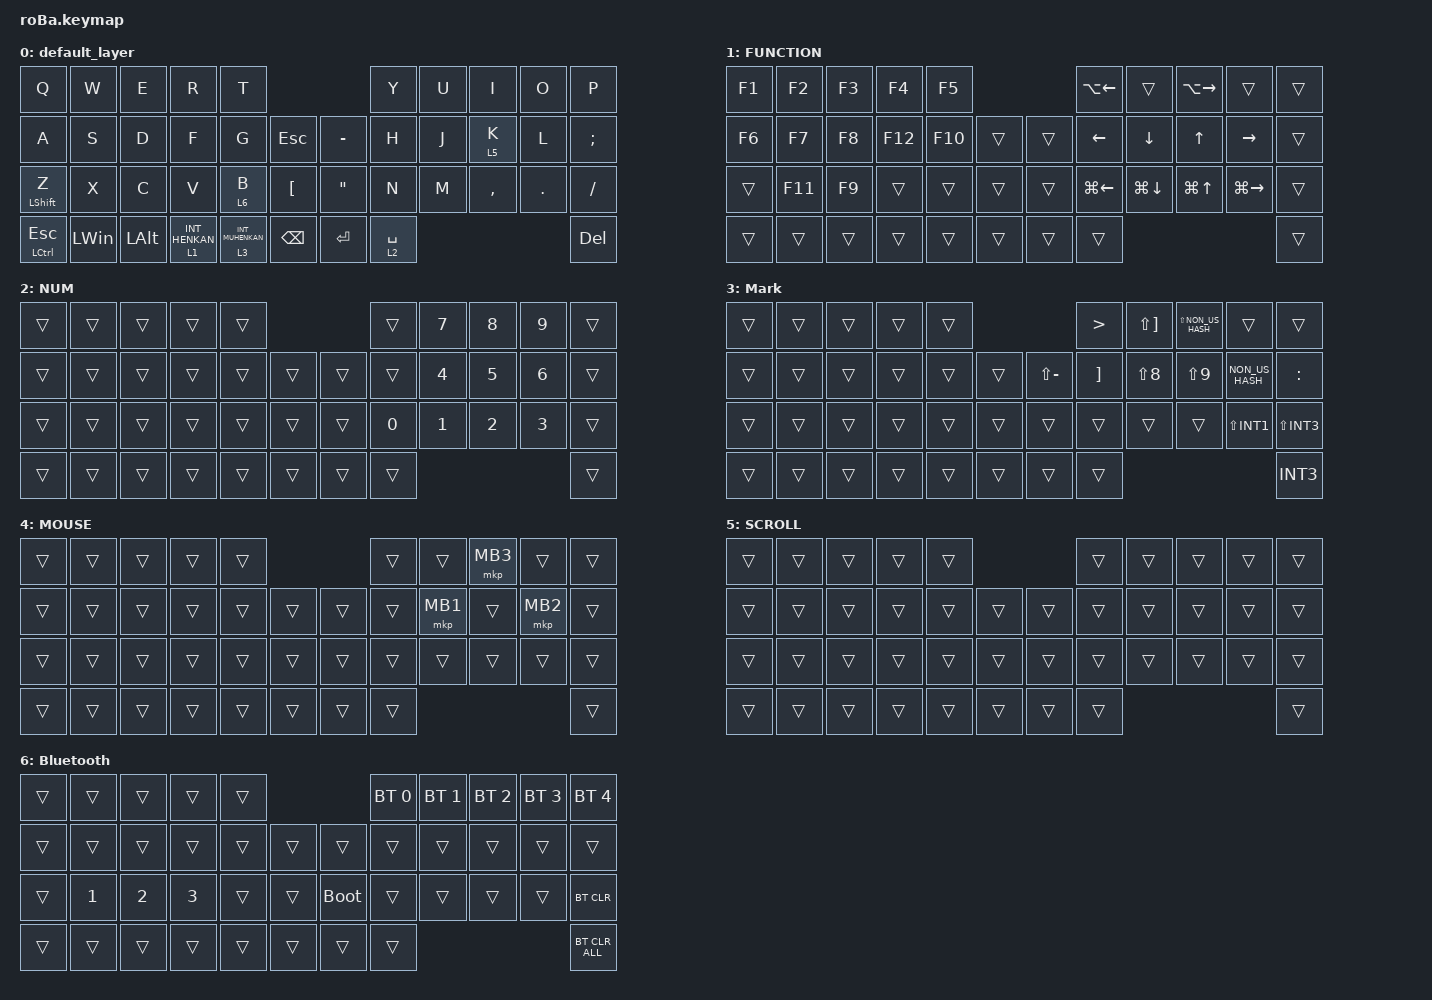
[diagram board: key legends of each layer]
#include <input/processors.dtsi>
#include <behaviors.dtsi>
#include <dt-bindings/zmk/bt.h>
#include <dt-bindings/zmk/keys.h>
#include <dt-bindings/zmk/pointing.h>

&mkp_input_listener { input-processors = <&zip_temp_layer 4 250>; };

&mt {
    flavor = "balanced";
    quick-tap-ms = <0>;
};

&trackball {
    automouse-layer = <4>;
    scroll-layers = <5>;

    // arrows {
    //     layers = <3>;
    //     bindings =
    //         <&kp RIGHT_ARROW>,
    //         <&kp LEFT_ARROW>,
    //         <&kp UP_ARROW>,
    //         <&kp DOWN_ARROW>;
    //     tick = <10>;
    //     wait-ms = <5>;
    //     tap-ms = <5>;
    // };
};

/ {
    combos {
        compatible = "zmk,combos";

        tab {
            bindings = <&kp TAB>;
            key-positions = <11 12>;
        };

        shift_tab {
            bindings = <&kp LS(TAB)>;
            key-positions = <12 13>;
        };

        muhennkann {
            bindings = <&to_layer_0 INT_MUHENKAN>;
            key-positions = <11 10>;
        };

        double_quotation {
            bindings = <&kp DOUBLE_QUOTES>;
            key-positions = <20 21>;
        };

        eq {
            bindings = <&kp EQUAL>;
            key-positions = <24 25>;
        };

        space_combo {
            bindings = <&kp SPACE>;
            key-positions = <18 19>;
        };
    };

    macros {
        to_layer_0: to_layer_0 {
            compatible = "zmk,behavior-macro-one-param";
            #binding-cells = <1>;
            bindings = <&to 0 &macro_param_1to1 &kp MACRO_PLACEHOLDER>;
            label = "TO_LAYER_0";
        };
    };

    behaviors {
        lt_to_layer_0: lt_to_layer_0 {
            compatible = "zmk,behavior-hold-tap";
            label = "LAYER_TAP_TO_0";
            bindings = <&mo>, <&to_layer_0>;

            #binding-cells = <2>;
            tapping-term-ms = <200>;
        };
    };

    keymap {
        compatible = "zmk,keymap";

        default_layer {
            bindings = <
&kp Q                 &kp W         &kp E         &kp R                        &kp T                                                                   &kp Y        &kp U  &kp I      &kp O    &kp P
&kp A                 &kp S         &kp D         &kp F                        &kp G                          &kp ESCAPE            &kp MINUS          &kp H        &kp J  &lt 5 K    &kp L    &kp SEMICOLON
&mt LEFT_SHIFT Z      &kp X         &kp C         &kp V                        &lt 6 B                        &kp LEFT_BRACKET      &kp DOUBLE_QUOTES  &kp N        &kp M  &kp COMMA  &kp DOT  &kp SLASH
&mt LEFT_CONTROL ESC  &kp LEFT_WIN  &kp LEFT_ALT  &lt_to_layer_0 1 INT_HENKAN  &lt_to_layer_0 3 INT_MUHENKAN  &kp BACKSPACE         &kp ENTER          &lt 2 SPACE                             &kp DEL
            >;
        };

        FUNCTION {
            bindings = <
&kp F1  &kp F2   &kp F3  &kp F4   &kp F5                       &kp LA(LEFT)  &trans              &kp LA(RIGHT)  &trans         &trans
&kp F6  &kp F7   &kp F8  &kp F12  &kp F10  &trans      &trans  &kp LEFT      &kp DOWN            &kp UP         &kp RIGHT      &trans
&trans  &kp F11  &kp F9  &trans   &trans   &trans      &trans  &kp LG(LEFT)  &kp LG(DOWN_ARROW)  &kp LG(UP)     &kp LG(RIGHT)  &trans
&trans  &trans   &trans  &trans   &trans   &trans      &trans  &trans                                                          &trans
            >;
        };

        NUM {
            bindings = <
&trans  &trans  &trans  &trans  &trans                      &trans  &kp N7  &kp N8  &kp N9  &trans
&trans  &trans  &trans  &trans  &trans  &trans      &trans  &trans  &kp N4  &kp N5  &kp N6  &trans
&trans  &trans  &trans  &trans  &trans  &trans      &trans  &kp N0  &kp N1  &kp N2  &kp N3  &trans
&trans  &trans  &trans  &trans  &trans  &trans      &trans  &trans                          &trans
            >;
        };

        Mark {
            bindings = <
&trans  &trans  &trans  &trans  &trans                             &kp GT             &kp LS(RIGHT_BRACKET)  &kp LS(NON_US_HASH)  &trans           &trans
&trans  &trans  &trans  &trans  &trans  &trans      &kp LS(MINUS)  &kp RIGHT_BRACKET  &kp LS(N8)             &kp LS(N9)           &kp NON_US_HASH  &kp COLON
&trans  &trans  &trans  &trans  &trans  &trans      &trans         &trans             &trans                 &trans               &kp LS(INT1)     &kp LS(INT3)
&trans  &trans  &trans  &trans  &trans  &trans      &trans         &trans                                                                          &kp INT3
            >;
        };

        MOUSE {
            bindings = <
&trans  &trans  &trans  &trans  &trans                      &trans  &trans    &mkp MB3  &trans    &trans
&trans  &trans  &trans  &trans  &trans  &trans      &trans  &trans  &mkp MB1  &trans    &mkp MB2  &trans
&trans  &trans  &trans  &trans  &trans  &trans      &trans  &trans  &trans    &trans    &trans    &trans
&trans  &trans  &trans  &trans  &trans  &trans      &trans  &trans                                &trans
            >;
        };

        SCROLL {
            bindings = <
&trans  &trans  &trans  &trans  &trans                      &trans  &trans  &trans  &trans  &trans
&trans  &trans  &trans  &trans  &trans  &trans      &trans  &trans  &trans  &trans  &trans  &trans
&trans  &trans  &trans  &trans  &trans  &trans      &trans  &trans  &trans  &trans  &trans  &trans
&trans  &trans  &trans  &trans  &trans  &trans      &trans  &trans                          &trans
            >;
        };

        Bluetooth {
            bindings = <
&trans  &trans        &trans        &trans        &trans                           &bt BT_SEL 0  &bt BT_SEL 1  &bt BT_SEL 2  &bt BT_SEL 3  &bt BT_SEL 4
&trans  &trans        &trans        &trans        &trans  &trans      &trans       &trans        &trans        &trans        &trans        &trans
&trans  &kp NUMBER_1  &kp NUMBER_2  &kp NUMBER_3  &trans  &trans      &bootloader  &trans        &trans        &trans        &trans        &bt BT_CLR
&trans  &trans        &trans        &trans        &trans  &trans      &trans       &trans                                                  &bt BT_CLR_ALL
            >;
        };
    };
};
